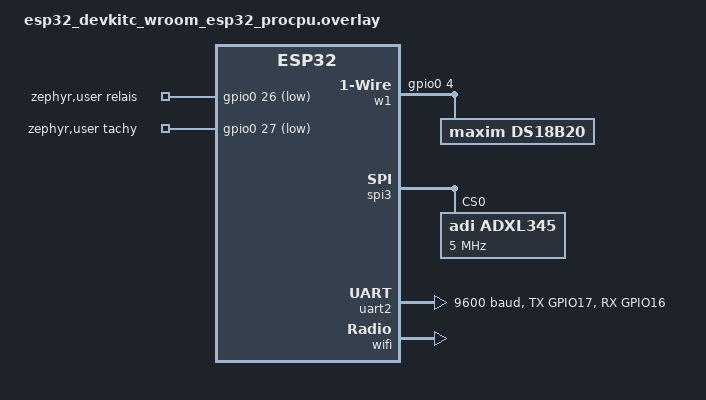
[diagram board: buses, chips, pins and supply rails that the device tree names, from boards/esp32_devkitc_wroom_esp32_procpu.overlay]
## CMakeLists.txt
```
cmake_minimum_required(VERSION 3.20.0)
find_package(Zephyr REQUIRED HINTS $ENV{ZEPHYR_BASE})

# Contournement d'un bug du pilote ADXL345 (SPI) dans Zephyr 3.7.99 : TRUE non defini
zephyr_compile_definitions(TRUE=1)

project(predictmotor)
target_sources(app PRIVATE
  src/main.c
  src/vibration.c
  src/moteur.c
  src/vitesse.c
  src/capteurs_lents.c
  src/pzem.c
  src/reseau.c
)
```

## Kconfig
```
mainmenu "PredictMotor"

config PM_MOTEUR_AU_DEMARRAGE
    bool "Mettre le ventilateur en marche des le demarrage"
    default n
    help
      Par securite le relais reste ouvert (ventilateur arrete) au
      demarrage. On le met en marche avec la commande "moteur on".

config PM_IMPULSIONS_PAR_TOUR
    int "Impulsions du TCRT5000 par tour d'helice"
    default 1
    help
      Nombre de rubans blancs colles sur le moyeu.

config PM_CT_CHARGE_OHMS
    int "Resistance de charge du TA12-100 (ohms)"
    default 200
    help
      A mesurer au multimetre entre G et S du module, debranche.

config PM_CT_RAPPORT
    int "Rapport du transformateur de courant"
    default 1000
    help
      TA12-100 : 1000 tours au secondaire (1000:1).

config PM_CT_TOURS
    int "Nombre de passages de la phase dans le tore"
    default 10
    help
      Le ventilateur ne tire que 0,14 A : faire passer la phase
      plusieurs fois dans le tore multiplie le signal.

source "Kconfig.zephyr"
config PM_PZEM_TOURS
	int "Nombre de passages de la phase dans le tore du PZEM"
	default 10
	range 1 50

config PM_WIFI_SSID
	string "Nom du reseau Wi-Fi"
	default ""

config PM_WIFI_PSK
	string "Mot de passe du Wi-Fi"
	default ""
```

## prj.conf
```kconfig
CONFIG_GPIO=y
CONFIG_SPI=y
CONFIG_W1=y
CONFIG_ADC=y
CONFIG_SENSOR=y
CONFIG_LOG=y
CONFIG_CBPRINTF_FP_SUPPORT=y

# Base de temps fine : echantillonnage a 400 Hz (2,5 ms) et 2 kHz (0,5 ms)
CONFIG_SYS_CLOCK_TICKS_PER_SEC=10000

# Console de commande : "moteur on" / "moteur off"
CONFIG_SHELL=y
CONFIG_SHELL_VT100_COLORS=n
CONFIG_SHELL_PROMPT_UART=""
CONFIG_SHELL_VT100_COMMANDS=n
# Reseau Wi-Fi (station + DHCP)
CONFIG_WIFI=y
CONFIG_NETWORKING=y
CONFIG_NET_L2_ETHERNET=y
CONFIG_NET_IPV4=y
CONFIG_NET_IPV6=n
CONFIG_NET_DHCPV4=y
CONFIG_ESP32_WIFI_STA_AUTO_DHCPV4=y
CONFIG_NET_TCP=y
CONFIG_NET_SOCKETS=y
CONFIG_NET_MGMT=y
CONFIG_NET_MGMT_EVENT=y
CONFIG_NET_MGMT_EVENT_INFO=y
CONFIG_NET_LOG=y
CONFIG_MAIN_STACK_SIZE=4096
```

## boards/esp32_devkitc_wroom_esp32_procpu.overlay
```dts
/*
 * Plan de cablage PredictMotor - ESP32 38 broches (esp32_devkitc_wroom)
 * Banc : ventilateur Sunon DP200A 230 V AC commande par relais
 *
 *   ADXL345   : SPI3  SCK=18  MISO=19  MOSI=23  CS=5
 *   DS18B20   : 1-Wire DATA=4 (module avec resistance de tirage)
 *   Relais    : IN=26  (VCC du module sur 3V3, low level trigger)
 *   TCRT5000  : D0=27  (optionnel, vitesse.c continue sans lui)
 *   PZEM-004T : UART2  TX=17 -> RX du PZEM, RX=16 <- TX du PZEM, 9600 8N1
 *
 * Le 230 V ne passe que par les contacts du relais (COM -> NO),
 * par les bornes L/N du PZEM et dans le tore du PZEM (phase seule, 10 tours).
 */
#include <zephyr/dt-bindings/gpio/gpio.h>
#include <zephyr/dt-bindings/pinctrl/esp-pinctrl-common.h>
#include <dt-bindings/pinctrl/esp32-pinctrl.h>

/ {
    /* Nos propres branchements, lus par moteur.c et vitesse.c */
    zephyr,user {
        /* Module relais "low level trigger" : actif a l'etat bas */
        relais-gpios = <&gpio0 26 GPIO_ACTIVE_LOW>;
        /* TCRT5000 : D0 passe a 0 quand le ruban blanc passe devant */
        tachy-gpios = <&gpio0 27 GPIO_ACTIVE_LOW>;
    };

    /* Bus 1-Wire realise par logiciel sur une broche GPIO */
    w1: w1 {
        compatible = "zephyr,w1-gpio";
        gpios = <&gpio0 4 (GPIO_ACTIVE_HIGH | GPIO_OPEN_DRAIN | GPIO_PULL_UP)>;

        ds18b20: ds18b20 {
            compatible = "maxim,ds18b20";
            family-code = <0x28>;
            resolution = <12>;          /* 0,0625 degre, conversion 750 ms */
        };
    };
};

/* Accelerometre */
&spi3 {
    status = "okay";

    adxl345: adxl345@0 {
        compatible = "adi,adxl345";
        reg = <0>;
        spi-max-frequency = <5000000>;
        odr = <5>;                /* 400 Hz : doit suivre la cadence de main.c */
    };
};

/* PZEM-004T sur UART2 (Modbus RTU) */
&pinctrl {
    uart2_pzem: uart2_pzem {
        group1 {
            pinmux = <UART2_TX_GPIO17>;
            output-high;
        };
        group2 {
            pinmux = <UART2_RX_GPIO16>;
            bias-pull-up;
        };
    };
};

&uart2 {
    status = "okay";
    current-speed = <9600>;
    pinctrl-0 = <&uart2_pzem>;
    pinctrl-names = "default";
};

&wifi {
    status = "okay";
};
```

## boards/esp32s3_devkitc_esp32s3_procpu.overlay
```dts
/* ESP32-S3 : ADXL345 sur SPI2 (SCK=12, MISO=13, MOSI=11, CS=10) */
&spi2 {
    status = "okay";

    adxl345: adxl345@0 {
        compatible = "adi,adxl345";
        reg = <0>;
        spi-max-frequency = <5000000>;
    };
};
```

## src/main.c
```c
#include <math.h>
#include <zephyr/kernel.h>
#include <zephyr/logging/log.h>
#include "vibration.h"
#include "moteur.h"
#include "vitesse.h"
#include "capteurs_lents.h"
#include "reseau.h"

LOG_MODULE_REGISTER(main, LOG_LEVEL_INF);

/* Le ventilateur tourne a ~52 Hz (3150 tr/min) : il faut echantillonner
 * a plus du double. 400 Hz = la cadence max de l'ADXL345 (odr = 5) */
#define FE_HZ 400 /* echantillons par seconde */
#define PERIODE_US (1000000 / FE_HZ)
#define FENETRE FE_HZ /* bilan chaque seconde */

/* Le timer "tape" le semaphore a intervalle regulier */
K_SEM_DEFINE(tick_sem, 0, 1);

static void tick_handler(struct k_timer *t)
{
    ARG_UNUSED(t);
    k_sem_give(&tick_sem);
}
K_TIMER_DEFINE(tick_timer, tick_handler, NULL);

struct stats
{
    float min;
    float max;
    float ref;    /* premiere mesure de la seconde */
    float somme;  /* somme des ecarts a ref */
    float somme2; /* somme des carres des ecarts a ref */
    bool vide;
};

static void stats_reset(struct stats s[3])
{
    for (int i = 0; i < 3; i++)
    {
        s[i].min = 1e9f;
        s[i].max = -1e9f;
        s[i].ref = 0.0f;
        s[i].somme = 0.0f;
        s[i].somme2 = 0.0f;
        s[i].vide = true;
    }
}

/* On travaille sur l'ecart a la premiere mesure : evite l'erreur
 * d'arrondi due a la gravite (~9,8 m/s2) dans le calcul du RMS */
static void stats_add(struct stats s[3], const float v[3])
{
    for (int i = 0; i < 3; i++)
    {
        if (s[i].vide)
        {
            s[i].ref = v[i];
            s[i].vide = false;
        }
        float e = v[i] - s[i].ref;

        s[i].min = MIN(s[i].min, v[i]);
        s[i].max = MAX(s[i].max, v[i]);
        s[i].somme += e;
        s[i].somme2 += e * e;
    }
}

/* Valeur efficace de la partie qui vibre (la gravite est retiree) */
static float stats_rms(const struct stats *s, uint32_t n)
{
    float moyenne = s->somme / (float)n;
    float variance = s->somme2 / (float)n - moyenne * moyenne;

    return variance > 0.0f ? sqrtf(variance) : 0.0f;
}

static void afficher_bilan(uint32_t sec, float tr_min, const struct stats s[3], uint32_t n)
{
    struct mesures_lentes m;

    capteurs_lents_lire(&m);

    printk("t=%3u s | moteur %s | %5.0f tr/min (f_rot=%4.1f Hz)\n",
           sec, moteur_en_marche() ? "ON " : "OFF",
           (double)tr_min, (double)(tr_min / 60.0f));

    if (n > 0)
    {
        printk("        | crete-a-crete x=%.2f y=%.2f z=%.2f | rms x=%.3f y=%.3f z=%.3f m/s2\n",
               (double)(s[0].max - s[0].min),
               (double)(s[1].max - s[1].min),
               (double)(s[2].max - s[2].min),
               (double)stats_rms(&s[0], n),
               (double)stats_rms(&s[1], n),
               (double)stats_rms(&s[2], n));
        printk("        | gravite moyenne x=%.2f y=%.2f z=%.2f m/s2\n",
               (double)(s[0].ref + s[0].somme / (float)n),
               (double)(s[1].ref + s[1].somme / (float)n),
               (double)(s[2].ref + s[2].somme / (float)n));
    }
    else
    {
        printk("        | vibrations --\n");
    }

    if (m.courant_ok)
    {
        printk("        | I=%.3f A U=%.1f V P=%.1f W PF=%.2f", (double)m.courant_a, (double)m.tension_v, (double)m.puissance_w, (double)m.facteur_p);
    }
    else
    {
        printk("        | I=--");
    }
    if (m.temperature_ok)
    {
        printk("  | T=%.1f C\n", (double)m.temperature_c);
    }
    else
    {
        printk("  | T=--\n");
    }
}

int main(void)
{
    float xyz[3];
    float tr_min = 0.0f;
    struct stats s[3];
    uint32_t n = 0;  /* ticks dans la seconde en cours */
    uint32_t nv = 0; /* echantillons de vibration valides */
    uint32_t sec = 0;

    printk("PredictMotor demarre\n");

    /* Le relais en premier : on s'assure que le ventilateur est arrete */
    if (moteur_init() < 0)
    {
        LOG_ERR("Relais non pret");
        return 0;
    }

    /* Capteurs optionnels : on continue meme s'ils manquent */
    bool vib_ok = (vibration_init() == 0);

    if (!vib_ok)
    {
        LOG_WRN("ADXL345 absent : vibrations non mesurees");
    }
    if (vitesse_init() < 0)
    {
        LOG_WRN("TCRT5000 non pret : vitesse non mesuree");
    }

    /* Capteurs lents : utiles mais pas vitaux, ils tournent a cote */
    capteurs_lents_demarrer();
    reseau_demarrer();

    if (IS_ENABLED(CONFIG_PM_MOTEUR_AU_DEMARRAGE))
    {
        moteur_marche();
    }
    else
    {
        LOG_INF("Ventilateur arrete. Taper \"moteur on\" pour le demarrer");
    }

    stats_reset(s);
    k_timer_start(&tick_timer, K_USEC(PERIODE_US), K_USEC(PERIODE_US));

    while (1)
    {
        k_sem_take(&tick_sem, K_FOREVER);

        if (vib_ok && vibration_lire(xyz) == 0)
        {
            stats_add(s, xyz);
            nv++;
        }

        if (++n == FENETRE)
        {
            sec++;
            (void)vitesse_lire(&tr_min);
            afficher_bilan(sec, tr_min, s, nv);
            stats_reset(s);
            n = 0;
            nv = 0;
        }
    }
    return 0;
}
```

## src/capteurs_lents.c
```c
#include <zephyr/kernel.h>
#include <zephyr/device.h>
#include <zephyr/drivers/sensor.h>
#include <zephyr/logging/log.h>
#include "capteurs_lents.h"
#include "pzem.h"

LOG_MODULE_REGISTER(lents, LOG_LEVEL_INF);

#define PERIODE_MS 2000 /* une mesure toutes les 2 s suffit */
#define PRIORITE 7      /* plus le nombre est grand, moins c'est prioritaire */
#define TAILLE_PILE 2048

static const struct device *const ds = DEVICE_DT_GET(DT_NODELABEL(ds18b20));

/* La "boite aux lettres" partagee, protegee par un verrou (mutex) */
static struct mesures_lentes dernieres;
K_MUTEX_DEFINE(verrou);

K_THREAD_STACK_DEFINE(pile, TAILLE_PILE);
static struct k_thread fil;

/* PZEM-004T : remplit les champs electriques de m. Retourne 0 si OK. */
static int lire_pzem(struct mesures_lentes *m)
{
    struct pzem_mesure pz;
    int err = pzem_lire(&pz);

    if (err)
    {
        return err;
    }

    m->tension_v = (float)pz.tension_dv / 10.0f;
    m->courant_a = (float)pz.courant_ua / 1000000.0f;
    m->puissance_w = (float)pz.puissance_mw / 1000.0f;
    m->facteur_p = (float)pz.facteur_pc / 100.0f;
    m->frequence_hz = (float)pz.frequence_dhz / 10.0f;
    m->energie_wh = pz.energie_wh;

    if (pz.alarme)
    {
        LOG_WRN("PZEM : alarme de surpuissance");
    }
    return 0;
}

static void boucle(void *p1, void *p2, void *p3)
{
    ARG_UNUSED(p1);
    ARG_UNUSED(p2);
    ARG_UNUSED(p3);

    bool pzem_ok = (pzem_init() == 0);
    bool ds_ok = device_is_ready(ds);
    bool pzem_repondait = true; /* pour ne prevenir qu'au changement */

    if (!pzem_ok)
    {
        LOG_WRN("UART2 du PZEM non pret : courant non mesure");
    }
    if (!ds_ok)
    {
        LOG_WRN("DS18B20 absent : temperature non mesuree");
    }

    while (1)
    {
        struct mesures_lentes m = {0};
        struct sensor_value v;

        if (pzem_ok)
        {
            int err = lire_pzem(&m);

            m.courant_ok = (err == 0);
            if (err && pzem_repondait)
            {
                LOG_WRN("PZEM ne repond pas (%d) : 230 V sur L/N ? RX/TX croises ?", err);
            }
            else if (!err && !pzem_repondait)
            {
                LOG_INF("PZEM de nouveau en ligne");
            }
            pzem_repondait = (err == 0);
        }

        /* Lent (750 ms) : c'est pour ca qu'on est dans un thread a part */
        if (ds_ok && sensor_sample_fetch(ds) == 0)
        {
            sensor_channel_get(ds, SENSOR_CHAN_AMBIENT_TEMP, &v);
            m.temperature_c = (float)sensor_value_to_double(&v);
            m.temperature_ok = true;
        }

        k_mutex_lock(&verrou, K_FOREVER);
        dernieres = m;
        k_mutex_unlock(&verrou);

        k_msleep(PERIODE_MS);
    }
}

void capteurs_lents_demarrer(void)
{
    k_thread_create(&fil, pile, K_THREAD_STACK_SIZEOF(pile),
                    boucle, NULL, NULL, NULL,
                    PRIORITE, 0, K_NO_WAIT);
}

void capteurs_lents_lire(struct mesures_lentes *m)
{
    k_mutex_lock(&verrou, K_FOREVER);
    *m = dernieres;
    k_mutex_unlock(&verrou);
}
```

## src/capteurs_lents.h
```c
#ifndef CAPTEURS_LENTS_H
#define CAPTEURS_LENTS_H

#include <stdbool.h>
#include <stdint.h>

/* Les dernieres mesures des capteurs lents (PZEM-004T + DS18B20) */
struct mesures_lentes
{
    /* PZEM-004T : courant, puissance et energie deja divises
     * par CONFIG_PM_PZEM_TOURS (passages de la phase dans le tore) */
    float courant_a;     /* courant efficace du ventilateur */
    float tension_v;     /* tension secteur */
    float puissance_w;   /* puissance active */
    float facteur_p;     /* facteur de puissance (0 a 1) */
    float frequence_hz;  /* frequence secteur */
    uint32_t energie_wh; /* energie cumulee */
    bool courant_ok;     /* true si le PZEM a repondu */

    /* DS18B20 */
    float temperature_c;
    bool temperature_ok;
};

/* Lance le thread qui lit le PZEM et la temperature en arriere-plan */
void capteurs_lents_demarrer(void);

/* Copie les dernieres valeurs (sans jamais bloquer longtemps) */
void capteurs_lents_lire(struct mesures_lentes *m);

#endif
```

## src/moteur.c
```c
#include <errno.h>
#include <string.h>
#include <zephyr/kernel.h>
#include <zephyr/drivers/gpio.h>
#include <zephyr/shell/shell.h>
#include <zephyr/logging/log.h>
#include "moteur.h"

LOG_MODULE_REGISTER(moteur, LOG_LEVEL_INF);

#define UTILISATEUR DT_PATH(zephyr_user)

/* Ventilateur Sunon DP200A (moteur a poles ombres) : pas de variation
 * de vitesse, seulement marche / arret par le relais */
static const struct gpio_dt_spec relais = GPIO_DT_SPEC_GET(UTILISATEUR, relais_gpios);

static bool en_marche;

int moteur_init(void)
{
    if (!gpio_is_ready_dt(&relais))
    {
        return -ENODEV;
    }
    /* Securite : relais ouvert (ventilateur arrete) avant tout */
    en_marche = false;
    return gpio_pin_configure_dt(&relais, GPIO_OUTPUT_INACTIVE);
}

int moteur_marche(void)
{
    int ret = gpio_pin_set_dt(&relais, 1);

    if (ret == 0)
    {
        en_marche = true;
        LOG_INF("ventilateur EN MARCHE");
    }
    return ret;
}

int moteur_arret(void)
{
    int ret = gpio_pin_set_dt(&relais, 0);

    if (ret == 0)
    {
        en_marche = false;
        LOG_INF("ventilateur ARRETE");
    }
    return ret;
}

bool moteur_en_marche(void)
{
    return en_marche;
}

/* Commande console : moteur on | moteur off */
static int cmd_moteur(const struct shell *sh, size_t argc, char **argv)
{
    ARG_UNUSED(argc);

    if (strcmp(argv[1], "on") == 0)
    {
        return moteur_marche();
    }
    if (strcmp(argv[1], "off") == 0)
    {
        return moteur_arret();
    }
    shell_error(sh, "usage : moteur on|off");
    return -EINVAL;
}
SHELL_CMD_ARG_REGISTER(moteur, NULL, "Marche/arret du ventilateur : moteur on|off",
                       cmd_moteur, 2, 0);
```

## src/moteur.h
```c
#ifndef MOTEUR_H
#define MOTEUR_H

#include <stdbool.h>

/* Configure le relais et laisse le ventilateur ARRETE */
int moteur_init(void);
/* Ferme le relais : le ventilateur 230 V demarre */
int moteur_marche(void);
/* Ouvre le relais : le ventilateur s'arrete */
int moteur_arret(void);
/* true si le relais est ferme */
bool moteur_en_marche(void);

#endif
```

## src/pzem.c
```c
/*
 * pzem.c : lecture du PZEM-004T v3.0 (Modbus RTU sur UART2, 9600 8N1)
 * PredictMotor, banc ventilateur 230 V
 *
 * Branchement (ESP32 38 broches) :
 *   PZEM RX  <- G17 (TX2)
 *   PZEM TX  -> G16 (RX2)
 *   PZEM 5V  -> 3V3, PZEM GND -> GND
 * Le PZEM ne répond que si L et N reçoivent le 230 V.
 */
#include "pzem.h"

#include <errno.h>
#include <zephyr/device.h>
#include <zephyr/drivers/uart.h>
#include <zephyr/kernel.h>
#include <zephyr/logging/log.h>

LOG_MODULE_REGISTER(pzem, LOG_LEVEL_INF);

#define PZEM_ADRESSE 0xF8    /* adresse générale (un seul PZEM) */
#define PZEM_FN_LECTURE 0x04 /* read input registers */
#define PZEM_NB_REGISTRES 10
#define PZEM_TAILLE_REPONSE (3 + 2 * PZEM_NB_REGISTRES + 2) /* 25 octets */
#define PZEM_TIMEOUT_MS 300

static const struct device *const uart_pzem = DEVICE_DT_GET(DT_NODELABEL(uart2));

static uint16_t crc16_modbus(const uint8_t *data, size_t len)
{
    uint16_t crc = 0xFFFF;

    for (size_t i = 0; i < len; i++)
    {
        crc ^= data[i];
        for (int b = 0; b < 8; b++)
        {
            crc = (crc & 1U) ? (crc >> 1) ^ 0xA001 : (crc >> 1);
        }
    }
    return crc;
}

static void vider_reception(void)
{
    unsigned char c;

    while (uart_poll_in(uart_pzem, &c) == 0)
    {
    }
}

static int recevoir(uint8_t *buf, size_t len, int timeout_ms)
{
    size_t n = 0;
    int64_t limite = k_uptime_get() + timeout_ms;

    while (n < len)
    {
        unsigned char c;

        if (uart_poll_in(uart_pzem, &c) == 0)
        {
            buf[n++] = c;
        }
        else if (k_uptime_get() > limite)
        {
            return -ETIMEDOUT;
        }
        else
        {
            k_sleep(K_MSEC(1));
        }
    }
    return 0;
}

int pzem_init(void)
{
    if (!device_is_ready(uart_pzem))
    {
        LOG_ERR("UART2 non prêt (overlay ?)");
        return -ENODEV;
    }
    LOG_INF("PZEM sur UART2 (TX G17, RX G16), %d tour(s) dans le tore",
            CONFIG_PM_PZEM_TOURS);
    return 0;
}

int pzem_lire(struct pzem_mesure *m)
{
    uint8_t req[8] = {
        PZEM_ADRESSE,
        PZEM_FN_LECTURE,
        0x00,
        0x00, /* premier registre */
        0x00,
        PZEM_NB_REGISTRES, /* nombre de registres */
        0,
        0, /* CRC */
    };
    uint8_t rep[PZEM_TAILLE_REPONSE];
    uint16_t r[PZEM_NB_REGISTRES];
    uint16_t crc;
    int err;

    if (!device_is_ready(uart_pzem))
    {
        return -ENODEV;
    }

    crc = crc16_modbus(req, 6);
    req[6] = crc & 0xFF; /* CRC : octet faible d'abord */
    req[7] = crc >> 8;

    vider_reception();
    for (size_t i = 0; i < sizeof(req); i++)
    {
        uart_poll_out(uart_pzem, req[i]);
    }

    err = recevoir(rep, sizeof(rep), PZEM_TIMEOUT_MS);
    if (err)
    {
        return err;
    }

    crc = crc16_modbus(rep, sizeof(rep) - 2);
    if (rep[sizeof(rep) - 2] != (crc & 0xFF) || rep[sizeof(rep) - 1] != (crc >> 8))
    {
        return -EIO;
    }
    if (rep[0] != PZEM_ADRESSE || rep[1] != PZEM_FN_LECTURE ||
        rep[2] != 2 * PZEM_NB_REGISTRES)
    {
        return -EBADMSG;
    }

    for (int i = 0; i < PZEM_NB_REGISTRES; i++)
    {
        r[i] = ((uint16_t)rep[3 + 2 * i] << 8) | rep[4 + 2 * i];
    }

    /* Valeurs brutes (cf. doc PZEM-004T v3.0) */
    uint32_t courant_ma_brut = ((uint32_t)r[2] << 16) | r[1];   /* 0,001 A */
    uint32_t puissance_dw_brut = ((uint32_t)r[4] << 16) | r[3]; /* 0,1 W */
    uint32_t energie_wh_brut = ((uint32_t)r[6] << 16) | r[5];   /* 1 Wh */

    /* Correction des tours : seuls courant, puissance et énergie changent */
    m->tension_dv = r[0];
    m->courant_ua = courant_ma_brut * 1000U / CONFIG_PM_PZEM_TOURS;
    m->puissance_mw = puissance_dw_brut * 100U / CONFIG_PM_PZEM_TOURS;
    m->energie_wh = energie_wh_brut / CONFIG_PM_PZEM_TOURS;
    m->frequence_dhz = r[7];
    m->facteur_pc = r[8];
    m->alarme = (r[9] == 0xFFFF);

    return 0;
}
```

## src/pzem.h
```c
/*
 * pzem.h : lecture du PZEM-004T v3.0 (Modbus RTU sur UART2, 9600 8N1)
 * PredictMotor, banc ventilateur 230 V
 */
#ifndef PZEM_H
#define PZEM_H

#include <stdbool.h>
#include <stdint.h>

/* Valeurs déjà corrigées du nombre de tours dans le tore
 * (CONFIG_PM_PZEM_TOURS) pour le courant, la puissance et l'énergie.
 * Unités entières pour éviter printf en flottant. */
struct pzem_mesure
{
    uint32_t tension_dv;    /* tension en 0,1 V        (2301 = 230,1 V) */
    uint32_t courant_ua;    /* courant en µA           (140000 = 0,140 A) */
    uint32_t puissance_mw;  /* puissance active en mW  (21000 = 21,0 W) */
    uint32_t energie_wh;    /* énergie cumulée en Wh */
    uint32_t frequence_dhz; /* fréquence en 0,1 Hz     (500 = 50,0 Hz) */
    uint32_t facteur_pc;    /* facteur de puissance en centièmes (92 = 0,92) */
    bool alarme;            /* alarme de surpuissance du PZEM */
};

/* Vérifie que l'UART2 est prêt. 0 si OK, -ENODEV sinon. */
int pzem_init(void);

/* Envoie une requête et lit les 10 registres de mesure.
 * Retour : 0 si OK
 *          -ENODEV    UART non prêt
 *          -ETIMEDOUT pas de réponse (PZEM sans 230 V, RX/TX inversés...)
 *          -EIO       CRC faux
 *          -EBADMSG   trame inattendue */
int pzem_lire(struct pzem_mesure *m);

#endif /* PZEM_H */
```

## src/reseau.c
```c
/*
 * reseau.c : connexion Wi-Fi de l'ESP32 (station + DHCP)
 * PredictMotor
 *
 * Le nom et le mot de passe du Wi-Fi viennent de wifi.conf
 * (CONFIG_PM_WIFI_SSID / CONFIG_PM_WIFI_PSK), fichier non commite.
 */
#include <string.h>
#include <zephyr/kernel.h>
#include <zephyr/logging/log.h>
#include <zephyr/net/net_if.h>
#include <zephyr/net/net_ip.h>
#include <zephyr/net/net_mgmt.h>
#include <zephyr/net/net_event.h>
#include <zephyr/net/wifi_mgmt.h>
#include "reseau.h"

LOG_MODULE_REGISTER(reseau, LOG_LEVEL_INF);

#define PRIORITE 8 /* moins prioritaire que l'echantillonnage */
#define TAILLE_PILE 3072
#define ATTENTE_IP_S 30 /* delai max pour obtenir une IP */
#define PAUSE_ESSAI_S 5 /* pause entre deux tentatives */

#define EVTS_WIFI (NET_EVENT_WIFI_CONNECT_RESULT | NET_EVENT_WIFI_DISCONNECT_RESULT)

static struct net_mgmt_event_callback cb_wifi;
static struct net_mgmt_event_callback cb_ip;
static K_SEM_DEFINE(sem_ip, 0, 1);
static atomic_t pret = ATOMIC_INIT(0);

K_THREAD_STACK_DEFINE(pile_reseau, TAILLE_PILE);
static struct k_thread fil_reseau;

static void evenement_wifi(struct net_mgmt_event_callback *cb,
                           uint32_t evt, struct net_if *iface)
{
    ARG_UNUSED(iface);

    if (evt == NET_EVENT_WIFI_CONNECT_RESULT)
    {
        const struct wifi_status *st = cb->info;

        if (st && st->status)
        {
            LOG_WRN("Wi-Fi : echec de connexion (%d), mauvais SSID ou mot de passe ?",
                    st->status);
        }
        else
        {
            LOG_INF("Wi-Fi connecte, attente de l'adresse IP...");
        }
    }
    else if (evt == NET_EVENT_WIFI_DISCONNECT_RESULT)
    {
        if (atomic_set(&pret, 0))
        {
            LOG_WRN("Wi-Fi perdu, reconnexion...");
        }
    }
}

static void evenement_ip(struct net_mgmt_event_callback *cb,
                         uint32_t evt, struct net_if *iface)
{
    ARG_UNUSED(iface);

    if (evt != NET_EVENT_IPV4_ADDR_ADD)
    {
        return;
    }

    char txt[NET_IPV4_ADDR_LEN] = "?";

    if (cb->info)
    {
        net_addr_ntop(AF_INET, cb->info, txt, sizeof(txt));
    }
    LOG_INF("Adresse IP : %s", txt);
    atomic_set(&pret, 1);
    k_sem_give(&sem_ip);
}

static int demander_connexion(struct net_if *iface)
{
    struct wifi_connect_req_params p = {0};

    p.ssid = (const uint8_t *)CONFIG_PM_WIFI_SSID;
    p.ssid_length = strlen(CONFIG_PM_WIFI_SSID);
    p.psk = (const uint8_t *)CONFIG_PM_WIFI_PSK;
    p.psk_length = strlen(CONFIG_PM_WIFI_PSK);
    p.security = p.psk_length ? WIFI_SECURITY_TYPE_PSK : WIFI_SECURITY_TYPE_NONE;
    p.band = WIFI_FREQ_BAND_2_4_GHZ; /* l'ESP32 ne fait que du 2,4 GHz */
    p.channel = WIFI_CHANNEL_ANY;
    p.mfp = WIFI_MFP_OPTIONAL;
    p.timeout = SYS_FOREVER_MS;

    LOG_INF("Connexion au Wi-Fi \"%s\"...", CONFIG_PM_WIFI_SSID);
    return net_mgmt(NET_REQUEST_WIFI_CONNECT, iface, &p, sizeof(p));
}

static void boucle(void *p1, void *p2, void *p3)
{
    ARG_UNUSED(p1);
    ARG_UNUSED(p2);
    ARG_UNUSED(p3);

    struct net_if *iface = net_if_get_default();

    if (!iface)
    {
        LOG_ERR("Pas d'interface reseau (wifi active dans l'overlay ?)");
        return;
    }
    if (strlen(CONFIG_PM_WIFI_SSID) == 0)
    {
        LOG_ERR("SSID vide : compiler avec -DEXTRA_CONF_FILE=wifi.conf");
        return;
    }

    /* Laisse le pilote Wi-Fi finir de demarrer */
    k_sleep(K_SECONDS(2));

    while (1)
    {
        if (!atomic_get(&pret))
        {
            k_sem_reset(&sem_ip);
            int err = demander_connexion(iface);

            if (err)
            {
                LOG_WRN("Demande de connexion refusee (%d)", err);
            }
            else if (k_sem_take(&sem_ip, K_SECONDS(ATTENTE_IP_S)) != 0)
            {
                LOG_WRN("Pas d'adresse IP apres %d s", ATTENTE_IP_S);
            }

            if (!atomic_get(&pret))
            {
                k_sleep(K_SECONDS(PAUSE_ESSAI_S));
            }
        }
        else
        {
            k_sleep(K_SECONDS(1));
        }
    }
}

void reseau_demarrer(void)
{
    net_mgmt_init_event_callback(&cb_wifi, evenement_wifi, EVTS_WIFI);
    net_mgmt_add_event_callback(&cb_wifi);
    net_mgmt_init_event_callback(&cb_ip, evenement_ip, NET_EVENT_IPV4_ADDR_ADD);
    net_mgmt_add_event_callback(&cb_ip);

    k_thread_create(&fil_reseau, pile_reseau, K_THREAD_STACK_SIZEOF(pile_reseau),
                    boucle, NULL, NULL, NULL, PRIORITE, 0, K_NO_WAIT);
    k_thread_name_set(&fil_reseau, "reseau");
}

bool reseau_pret(void)
{
    return atomic_get(&pret) != 0;
}
```

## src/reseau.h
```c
#ifndef RESEAU_H
#define RESEAU_H

#include <stdbool.h>

/* Lance le thread qui connecte l'ESP32 au Wi-Fi (et se reconnecte
 * tout seul en cas de coupure). Ne bloque pas. */
void reseau_demarrer(void);

/* true quand l'ESP32 est connecte au Wi-Fi ET a recu une adresse IP */
bool reseau_pret(void);

#endif
```

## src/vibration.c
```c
#include <errno.h>
#include <zephyr/device.h>
#include <zephyr/drivers/sensor.h>
#include <zephyr/drivers/spi.h>
#include <zephyr/logging/log.h>
#include "vibration.h"

LOG_MODULE_REGISTER(vibration, LOG_LEVEL_INF);

static const struct device *const accel = DEVICE_DT_GET_ONE(adi_adxl345);

/* Acces direct au capteur sur le meme bus SPI que le pilote (mode 3) */
static const struct spi_dt_spec bus = SPI_DT_SPEC_GET(DT_NODELABEL(adxl345),
                                                      SPI_WORD_SET(8) | SPI_TRANSFER_MSB | SPI_MODE_CPOL | SPI_MODE_CPHA, 0);

#define REG_DATA_FORMAT 0x31
#define PLAGE_2G 0x00 /* +/-2 g, 10 bits : 3,9 mg par pas */
#define LECTURE 0x80

/* Le pilote Zephyr regle +/-16 g (31,2 mg par pas) et convertit avec cette
 * echelle. En +/-2 g un pas vaut 8 fois moins : on divise par 8. */
#define ECHELLE (1.0f / 8.0f)

static int ecrire_registre(uint8_t reg, uint8_t val)
{
    uint8_t tx[2] = {reg, val};
    const struct spi_buf b = {.buf = tx, .len = sizeof(tx)};
    const struct spi_buf_set s = {.buffers = &b, .count = 1};

    return spi_write_dt(&bus, &s);
}

static int lire_registre(uint8_t reg, uint8_t *val)
{
    uint8_t tx[2] = {reg | LECTURE, 0};
    uint8_t rx[2];
    const struct spi_buf bt = {.buf = tx, .len = sizeof(tx)};
    const struct spi_buf br = {.buf = rx, .len = sizeof(rx)};
    const struct spi_buf_set st = {.buffers = &bt, .count = 1};
    const struct spi_buf_set sr = {.buffers = &br, .count = 1};
    int ret = spi_transceive_dt(&bus, &st, &sr);

    *val = rx[1];
    return ret;
}

int vibration_init(void)
{
    uint8_t format = 0xFF;

    if (!device_is_ready(accel))
    {
        return -ENODEV;
    }
    /* Passage en +/-2 g pour une resolution 8 fois plus fine */
    if (ecrire_registre(REG_DATA_FORMAT, PLAGE_2G) < 0 ||
        lire_registre(REG_DATA_FORMAT, &format) < 0 || format != PLAGE_2G)
    {
        LOG_ERR("ADXL345 : reglage +/-2 g impossible (lu 0x%02x)", format);
        return -EIO;
    }
    LOG_INF("ADXL345 regle en +/-2 g (pas de 0,038 m/s2)");
    return 0;
}

int vibration_lire(float xyz[3])
{
    struct sensor_value v[3];
    int ret = sensor_sample_fetch(accel);

    if (ret < 0)
    {
        return ret;
    }
    sensor_channel_get(accel, SENSOR_CHAN_ACCEL_XYZ, v);
    for (int i = 0; i < 3; i++)
    {
        xyz[i] = (float)sensor_value_to_double(&v[i]) * ECHELLE;
    }
    return 0;
}
```

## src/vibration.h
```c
#ifndef VIBRATION_H
#define VIBRATION_H

int vibration_init(void);
/* Lit l'acceleration en m/s2 sur x, y, z */
int vibration_lire(float xyz[3]);

#endif
```

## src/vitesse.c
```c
#include <errno.h>
#include <zephyr/kernel.h>
#include <zephyr/drivers/gpio.h>
#include <zephyr/sys/atomic.h>
#include "vitesse.h"

#define UTILISATEUR DT_PATH(zephyr_user)

/* A 3150 tr/min un tour dure ~19 ms : tout front qui arrive moins de
 * 5 ms apres le precedent est un rebond du comparateur, on l'ignore */
#define ANTI_REBOND_US 5000

static const struct gpio_dt_spec tachy = GPIO_DT_SPEC_GET(UTILISATEUR, tachy_gpios);
static struct gpio_callback rappel;

static atomic_t impulsions;
static uint32_t dernier_front_cyc;
static int64_t t_prec;

static void front_isr(const struct device *dev, struct gpio_callback *cb, uint32_t pins)
{
    ARG_UNUSED(dev);
    ARG_UNUSED(cb);
    ARG_UNUSED(pins);

    uint32_t maintenant = k_cycle_get_32();

    if (k_cyc_to_us_floor32(maintenant - dernier_front_cyc) >= ANTI_REBOND_US)
    {
        atomic_inc(&impulsions);
        dernier_front_cyc = maintenant;
    }
}

int vitesse_init(void)
{
    int ret;

    if (!gpio_is_ready_dt(&tachy))
    {
        return -ENODEV;
    }
    ret = gpio_pin_configure_dt(&tachy, GPIO_INPUT);
    if (ret < 0)
    {
        return ret;
    }
    ret = gpio_pin_interrupt_configure_dt(&tachy, GPIO_INT_EDGE_TO_ACTIVE);
    if (ret < 0)
    {
        return ret;
    }
    gpio_init_callback(&rappel, front_isr, BIT(tachy.pin));
    ret = gpio_add_callback(tachy.port, &rappel);

    atomic_set(&impulsions, 0);
    t_prec = k_uptime_get();
    return ret;
}

int vitesse_lire(float *tr_min)
{
    int64_t t = k_uptime_get();
    int64_t dt_ms = t - t_prec;

    if (dt_ms <= 0)
    {
        return -EAGAIN;
    }
    atomic_val_t n = atomic_set(&impulsions, 0);

    t_prec = t;
    *tr_min = (float)n * 60000.0f /
              ((float)dt_ms * (float)CONFIG_PM_IMPULSIONS_PAR_TOUR);
    return 0;
}
```

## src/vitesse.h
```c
#ifndef VITESSE_H
#define VITESSE_H

int vitesse_init(void);
/* Vitesse de l'helice depuis le dernier appel, en tr/min (TCRT5000) */
int vitesse_lire(float *tr_min);

#endif
```
